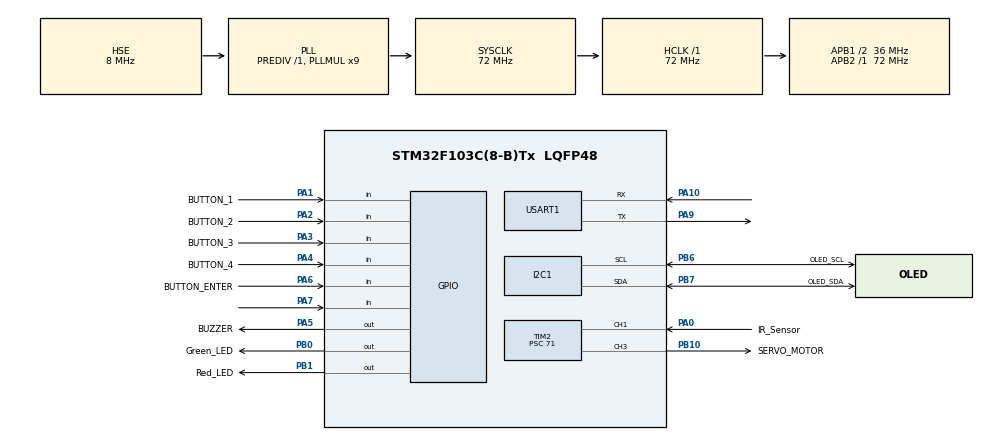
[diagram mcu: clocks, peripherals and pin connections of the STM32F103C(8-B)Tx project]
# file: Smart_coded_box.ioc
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Mcu.Family=STM32F1
Mcu.Name=STM32F103C(8-B)Tx
Mcu.Package=LQFP48
NVIC.PriorityGroup=NVIC_PRIORITYGROUP_4
PA0-WKUP.GPIO_Label=IR_Sensor
PA0-WKUP.Signal=S_TIM2_CH1_ETR
PA1.GPIO_Label=BUTTON_1
PA1.GPIO_PuPd=GPIO_PULLUP
PA1.Signal=GPIO_Input
PA10.Mode=Asynchronous
PA10.Signal=USART1_RX
PA13.Mode=Serial_Wire
PA13.Signal=SYS_JTMS-SWDIO
PA14.Mode=Serial_Wire
PA14.Signal=SYS_JTCK-SWCLK
PA2.GPIO_Label=BUTTON_2
PA2.GPIO_PuPd=GPIO_PULLUP
PA2.Signal=GPIO_Input
PA3.GPIO_Label=BUTTON_3
PA3.GPIO_PuPd=GPIO_PULLUP
PA3.Signal=GPIO_Input
PA4.GPIO_Label=BUTTON_4
PA4.GPIO_PuPd=GPIO_PULLUP
PA4.Signal=GPIO_Input
PA5.GPIO_Label=BUZZER
PA5.PinState=GPIO_PIN_SET
PA5.Signal=GPIO_Output
PA6.GPIO_Label=BUTTON_ENTER
PA6.GPIO_PuPd=GPIO_PULLUP
PA6.Signal=GPIO_Input
PA7.GPIO_PuPd=GPIO_PULLUP
PA7.Signal=GPIO_Input
PA9.Mode=Asynchronous
PA9.Signal=USART1_TX
PB0.GPIO_Label=Green_LED
PB0.Signal=GPIO_Output
PB1.GPIO_Label=Red_LED
PB1.Signal=GPIO_Output
PB10.GPIO_Label=SERVO_MOTOR
PB10.Signal=S_TIM2_CH3
PB6.GPIO_Label=OLED_SCL
PB6.Mode=I2C
PB6.Signal=I2C1_SCL
PB7.GPIO_Label=OLED_SDA
PB7.Mode=I2C
PB7.Signal=I2C1_SDA
PD0-OSC_IN.Mode=HSE-External-Oscillator
PD0-OSC_IN.Signal=RCC_OSC_IN
PD1-OSC_OUT.Mode=HSE-External-Oscillator
PD1-OSC_OUT.Signal=RCC_OSC_OUT
ProjectManager.HeapSize=0x200
ProjectManager.StackSize=0x400
ProjectManager.TargetToolchain=STM32CubeIDE
RCC.AHBFreq_Value=72000000
RCC.APB1CLKDivider=RCC_HCLK_DIV2
RCC.APB1Freq_Value=36000000
RCC.APB1TimFreq_Value=72000000
RCC.APB2Freq_Value=72000000
RCC.APB2TimFreq_Value=72000000
RCC.HCLKFreq_Value=72000000
RCC.PLLMUL=RCC_PLL_MUL9
RCC.PLLSourceVirtual=RCC_PLLSOURCE_HSE
RCC.SYSCLKFreq_VALUE=72000000
RCC.SYSCLKSource=RCC_SYSCLKSOURCE_PLLCLK
RCC.USBFreq_Value=48000000
RCC.USBPrescaler=RCC_USBCLKSOURCE_PLL_DIV1_5
SH.S_TIM2_CH1_ETR.0=TIM2_CH1,Input_Capture1_from_TI1
SH.S_TIM2_CH3.0=TIM2_CH3,PWM Generation3 CH3
TIM2.Channel-Input_Capture1_from_TI1=TIM_CHANNEL_1
TIM2.Channel-PWM\ Generation3\ CH3=TIM_CHANNEL_3
TIM2.Period=19999
TIM2.Prescaler=71
USART1.VirtualMode=VM_ASYNC
board=custom

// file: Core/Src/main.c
/* USER CODE BEGIN Header */
/**
  ******************************************************************************
  * @file           : main.c
  * @brief          : Main program body
  ******************************************************************************
  * @attention
  *
  * Copyright (c) 2026 STMicroelectronics.
  * All rights reserved.
  *
  * This software is licensed under terms that can be found in the LICENSE file
  * in the root directory of this software component.
  * If no LICENSE file comes with this software, it is provided AS-IS.
  *
  ******************************************************************************
  */
/* USER CODE END Header */
#include "main.h"
#include "i2c.h"
#include "tim.h"
#include "usart.h"
#include "gpio.h"

/* USER CODE BEGIN Includes */
#include "ssd1306.h"
#include "ssd1306_tests.h"
#include "ssd1306_fonts.h"
#include <stdio.h>
#include <string.h>

/* USER CODE END Includes */

/* USER CODE BEGIN PV */
extern UART_HandleTypeDef huart1;
uint8_t masterKod[4] = {1, 2, 3, 4};
uint8_t probalkozas[4];
uint8_t hanyszadik = 0;
uint8_t nyitvaVan = 0;

uint32_t utolsoGombnyomas = 0;
uint8_t oledBekapcsolva = 1;
uint8_t rosszProbaSzamlalo = 0;
uint32_t letiltasIdopontja = 0;
uint32_t utolsoInterakcio = 0;
uint32_t irErzekelesEleje = 0;

uint8_t frissiteniKell = 1;

/* USER CODE END PV */

void SystemClock_Config(void);

/* USER CODE BEGIN 0 */
#define NOTE_C4  262
#define NOTE_D4  294
#define NOTE_E4  330
#define NOTE_F4  349
#define NOTE_G4  392
#define NOTE_A4  440
#define NOTE_B4  494
#define NOTE_C5  523
#define NOTE_CS5 554
#define NOTE_D5  587
#define NOTE_E5  659
#define NOTE_F5  698
#define NOTE_GS4 415
#define NOTE_G5  784

void UART_Log(char *status, char *user) {
    char msg[64];
    int len = sprintf(msg, "%s;%s\r\n", status, user);
    HAL_UART_Transmit(&huart1, (uint8_t*)msg, len, 100);
}

void delay_us(uint16_t us) {
    __HAL_TIM_SET_COUNTER(&htim2, 0);
    while (__HAL_TIM_GET_COUNTER(&htim2) < us);
}

void playTone(uint16_t freq, uint16_t duration) {
    if (freq == 0) {
        HAL_Delay(duration);
        return;
    }
    uint32_t period = 1000000 / freq;
    uint32_t half_period = period / 2;
    uint32_t start_tick = HAL_GetTick();

    while (HAL_GetTick() - start_tick < duration) {
        HAL_GPIO_WritePin(BUZZER_GPIO_Port, BUZZER_Pin, GPIO_PIN_SET);
        delay_us(half_period);
        HAL_GPIO_WritePin(BUZZER_GPIO_Port, BUZZER_Pin, GPIO_PIN_RESET);
        delay_us(half_period);
    }
}

void play_BellaCiao() {
    uint16_t melody[] = {
        NOTE_A4, NOTE_D5, NOTE_E5, NOTE_F5, NOTE_D5, 0,
        NOTE_A4, NOTE_D5, NOTE_E5, NOTE_F5, NOTE_D5, 0,
        NOTE_A4, NOTE_D5, NOTE_E5, NOTE_F5, NOTE_E5, NOTE_D5,
        NOTE_F5, NOTE_E5, NOTE_D5, NOTE_A4, 0,
        NOTE_A4, NOTE_A4, NOTE_A4, NOTE_B4, NOTE_CS5, NOTE_D5, NOTE_D5
    };
    uint16_t durations[] = {
        200, 200, 200, 200, 400, 50,
        200, 200, 200, 200, 400, 50,
        200, 200, 200, 200, 200, 200,
        200, 200, 200, 400, 100,
        150, 150, 150, 150, 150, 400, 400
    };

    int utolso_mp = -1;

    for (int i = 0; i < sizeof(melody)/sizeof(uint16_t); i++) {
        playTone(melody[i], durations[i]);
        uint32_t most = HAL_GetTick();
        int hatralevo = 30 - ((most - utolsoInterakcio) / 1000);
        if (hatralevo < 0) hatralevo = 0;

        if (hatralevo != utolso_mp) {
            char buf[10];
            ssd1306_Fill(Black);
            ssd1306_SetCursor(20, 5);
            ssd1306_WriteString("Safe OPENED", Font_7x10, White);
            sprintf(buf, "%02ds", hatralevo);
            ssd1306_SetCursor(45, 25);
            ssd1306_WriteString(buf, Font_11x18, White);
            for(int x=0; x < (hatralevo * 4); x++) {
                ssd1306_DrawPixel(x + 4, 60, White);
                ssd1306_DrawPixel(x + 4, 61, White);
            }
            ssd1306_UpdateScreen();
            utolso_mp = hatralevo;
        }
        HAL_Delay(20);
    }
}

void play_MarioDie() {
    uint16_t melody[] = {
        NOTE_C5, NOTE_CS5, NOTE_D5, 0,
        NOTE_GS4, 0, NOTE_G4, 0, NOTE_F4,
        0, NOTE_E4, NOTE_D4, NOTE_C4
    };
    uint16_t durations[] = {
        100, 100, 100, 150,
        200, 50, 200, 50, 200,
        100, 200, 200, 400
    };
    for (int i = 0; i < 13; i++) {
        playTone(melody[i], durations[i]);
        HAL_Delay(10);
    }
}
/* USER CODE END 0 */

int main(void)
{

  /* MCU Configuration--------------------------------------------------------*/

  /* Reset of all peripherals, Initializes the Flash interface and the Systick. */
  HAL_Init();

  /* Configure the system clock */
  SystemClock_Config();

  /* Initialize all configured peripherals */
  MX_GPIO_Init();
  MX_I2C1_Init();
  MX_TIM2_Init();
  MX_USART1_UART_Init();
  /* USER CODE BEGIN 2 */
  HAL_TIM_Base_Start(&htim2);
    HAL_TIM_IC_Start_IT(&htim2, TIM_CHANNEL_1);
    HAL_TIM_PWM_Start(&htim2, TIM_CHANNEL_3);
    ssd1306_Init();
    ssd1306_Fill(Black);
    ssd1306_UpdateScreen();

    playTone(NOTE_A4, 200);

  /* USER CODE END 2 */

  /* Infinite loop */
  /* USER CODE BEGIN WHILE */

    while (1)
      {
          uint32_t most = HAL_GetTick();
          char buf[20];

          // --- 1. LETILTÁS KEZELÉSE ---
          if (rosszProbaSzamlalo >= 3) {
              if (most - letiltasIdopontja < 60000) {
                  ssd1306_Fill(Black);
                  ssd1306_SetCursor(35, 20);
                  ssd1306_WriteString("WRONG!", Font_11x18, White);
                  int hatra = 60 - ((most - letiltasIdopontja) / 1000);
                  sprintf(buf, "WAIT: %ds", hatra);
                  ssd1306_SetCursor(40, 45);
                  ssd1306_WriteString(buf, Font_7x10, White);
                  ssd1306_UpdateScreen();
                  HAL_GPIO_TogglePin(GPIOB, Red_LED_Pin);
                  playTone(NOTE_C5, 100);
                  HAL_Delay(400);
                  continue;
              } else {
                  rosszProbaSzamlalo = 0;
                  frissiteniKell = 1;
                  HAL_GPIO_WritePin(GPIOB, Red_LED_Pin, GPIO_PIN_RESET);
              }
          }

          // --- 2. OLED ELALVÁS ---
          if (nyitvaVan == 0 && most - utolsoGombnyomas > 5000 && oledBekapcsolva) {
              ssd1306_WriteCommand(0xAE);
              oledBekapcsolva = 0;
          }

          // --- 3. GOMBOK ÉS IR ÉRZÉKELÉS ---
          int gomb = 0;
          if (HAL_GPIO_ReadPin(GPIOA, BUTTON_1_Pin) == GPIO_PIN_RESET) gomb = 1;
          else if (HAL_GPIO_ReadPin(GPIOA, BUTTON_2_Pin) == GPIO_PIN_RESET) gomb = 2;
          else if (HAL_GPIO_ReadPin(GPIOA, BUTTON_3_Pin) == GPIO_PIN_RESET) gomb = 3;
          else if (HAL_GPIO_ReadPin(GPIOA, BUTTON_4_Pin) == GPIO_PIN_RESET) gomb = 4;
          else if (HAL_GPIO_ReadPin(GPIOA, BUTTON_ENTER_Pin) == GPIO_PIN_RESET) gomb = 6;

          if (gomb > 0 || HAL_GPIO_ReadPin(GPIOA, GPIO_PIN_0) == GPIO_PIN_RESET) {
              utolsoGombnyomas = most;
              if (!oledBekapcsolva) {
                  ssd1306_WriteCommand(0xAF);
                  oledBekapcsolva = 1;
                  frissiteniKell = 1;
              }
          }

          // --- 4. ÁLLAPOT: ZÁRVA (LOCKED) ---
          if (nyitvaVan == 0) {
        	  if (frissiteniKell) {
        	      ssd1306_Fill(Black);
        	      ssd1306_SetCursor(40, 5);
        	      ssd1306_WriteString("LOCKED", Font_7x10, White);
        	      ssd1306_SetCursor(32, 35);
        	      ssd1306_WriteString("_ _ _ _", Font_11x18, White);
        	      ssd1306_UpdateScreen();
        	      frissiteniKell = 0;
        	  }

        	  if (gomb >= 1 && gomb <= 4 && hanyszadik < 4) {
        	      playTone(NOTE_E5, 50);
        	      probalkozas[hanyszadik++] = gomb;
        	      ssd1306_SetCursor(32 + ((hanyszadik - 1) * 16), 33);
        	      ssd1306_WriteString("*", Font_11x18, White);
        	      ssd1306_UpdateScreen();
                  HAL_Delay(250);
                  while(HAL_GPIO_ReadPin(GPIOA, BUTTON_1_Pin) == GPIO_PIN_RESET ||
                        HAL_GPIO_ReadPin(GPIOA, BUTTON_2_Pin) == GPIO_PIN_RESET ||
                        HAL_GPIO_ReadPin(GPIOA, BUTTON_3_Pin) == GPIO_PIN_RESET ||
                        HAL_GPIO_ReadPin(GPIOA, BUTTON_4_Pin) == GPIO_PIN_RESET);
              }

              if (gomb == 6 && hanyszadik == 4) {
                    int hiba = 0;
                    for(int i=0; i<4; i++) {
                        if(probalkozas[i] != masterKod[i]) hiba = 1;
                    }

                    if (!hiba) { // SIKERES NYITÁS
                        UART_Log("OPEN", "MASTER");
                        nyitvaVan = 1;

                        // 1. Motor elforgatása (Nyitás: 1.5ms impulzus = 90 fok)
                        __HAL_TIM_SET_COMPARE(&htim2, TIM_CHANNEL_3, 1500);
                        HAL_GPIO_WritePin(GPIOB, Green_LED_Pin, GPIO_PIN_SET);

                        // 2. Zene lejátszása (Ez blokkolja a kódot)
                        play_BellaCiao();

                        // 3. CSAK MOST mentsük el a kezdőidőt, miután a zene véget ért!
                        utolsoInterakcio = HAL_GetTick();
                        rosszProbaSzamlalo = 0;
                    }
                    else { // ROSSZ KÓD
                        UART_Log("WRONG", "UNKNOWN");
                        play_MarioDie();
                        rosszProbaSzamlalo++;
                        ssd1306_Fill(Black);
                        ssd1306_SetCursor(35, 25);
                        ssd1306_WriteString("WRONG!", Font_11x18, White);
                        ssd1306_UpdateScreen();
                        HAL_GPIO_WritePin(GPIOB, Red_LED_Pin, GPIO_PIN_SET);
                        if (rosszProbaSzamlalo >= 3) letiltasIdopontja = most;
                        HAL_Delay(1000);
                        HAL_GPIO_WritePin(GPIOB, Red_LED_Pin, GPIO_PIN_RESET);
                        hanyszadik = 0;
                        frissiteniKell = 1;
                    }
                }
          }
          // --- 5. ÁLLAPOT: NYITVA ---
          else {
              uint32_t elteltIdo = (most - utolsoInterakcio) / 1000;
              int hatralevo = 30 - elteltIdo;

              ssd1306_Fill(Black);

              if (hatralevo > 0) {
                  // Kijelzés kezelése
                  ssd1306_SetCursor(20, 5);
                  ssd1306_WriteString("Safe OPENED", Font_7x10, White);
                  sprintf(buf, "%02ds", hatralevo);
                  ssd1306_SetCursor(45, 25);
                  ssd1306_WriteString(buf, Font_11x18, White);

                  // Progress bar rajzolása
                  for(int x=0; x < (hatralevo * 4); x++) {
                      ssd1306_DrawPixel(x + 4, 60, White);
                  }

                  // --- IR SZENZOR FIGYELÉSE ---
                  // Ha az IR (PA0) alacsony szintű (érzékel valamit)
                  if (HAL_GPIO_ReadPin(GPIOA, GPIO_PIN_0) == GPIO_PIN_RESET) {
                      static uint32_t irErzekelesEleje = 0;
                      if (irErzekelesEleje == 0) irErzekelesEleje = HAL_GetTick();

                      if (HAL_GetTick() - irErzekelesEleje > 1500) { // Csak ha 1.5 mp-ig folyamatosan takarják
                          utolsoInterakcio = HAL_GetTick() - 31000;
                      }
                  } else {
                      irErzekelesEleje = 0;
                  }
              }
              else {
                  // --- AUTOMATIKUS VAGY IR MIATTI ZÁRÁS ---
                  nyitvaVan = 0;
                  hanyszadik = 0;

                  // MOTOR VISSZAFORDÍTÁSA (Zárás: 1ms impulzus)
                  __HAL_TIM_SET_COMPARE(&htim2, TIM_CHANNEL_3, 1000);

                  HAL_GPIO_WritePin(GPIOB, Green_LED_Pin, GPIO_PIN_RESET);
                  UART_Log("CLOSED", "AUTO");
                  playTone(NOTE_G4, 200);
                  frissiteniKell = 1;
                  ssd1306_Fill(Black);
                  ssd1306_UpdateScreen();
                  HAL_Delay(500);
              }
              ssd1306_UpdateScreen();
          }
          HAL_Delay(50);
      }
    }
    /* USER CODE END WHILE */

void SystemClock_Config(void)
{
  RCC_OscInitTypeDef RCC_OscInitStruct = {0};
  RCC_ClkInitTypeDef RCC_ClkInitStruct = {0};

  /** Initializes the RCC Oscillators according to the specified parameters
  * in the RCC_OscInitTypeDef structure.
  */
  RCC_OscInitStruct.OscillatorType = RCC_OSCILLATORTYPE_HSE;
  RCC_OscInitStruct.HSEState = RCC_HSE_ON;
  RCC_OscInitStruct.HSEPredivValue = RCC_HSE_PREDIV_DIV1;
  RCC_OscInitStruct.HSIState = RCC_HSI_ON;
  RCC_OscInitStruct.PLL.PLLState = RCC_PLL_ON;
  RCC_OscInitStruct.PLL.PLLSource = RCC_PLLSOURCE_HSE;
  RCC_OscInitStruct.PLL.PLLMUL = RCC_PLL_MUL9;
  if (HAL_RCC_OscConfig(&RCC_OscInitStruct) != HAL_OK)
  {
    Error_Handler();
  }

  /** Initializes the CPU, AHB and APB buses clocks
  */
  RCC_ClkInitStruct.ClockType = RCC_CLOCKTYPE_HCLK|RCC_CLOCKTYPE_SYSCLK
                              |RCC_CLOCKTYPE_PCLK1|RCC_CLOCKTYPE_PCLK2;
  RCC_ClkInitStruct.SYSCLKSource = RCC_SYSCLKSOURCE_PLLCLK;
  RCC_ClkInitStruct.AHBCLKDivider = RCC_SYSCLK_DIV1;
  RCC_ClkInitStruct.APB1CLKDivider = RCC_HCLK_DIV2;
  RCC_ClkInitStruct.APB2CLKDivider = RCC_HCLK_DIV1;

  if (HAL_RCC_ClockConfig(&RCC_ClkInitStruct, FLASH_LATENCY_2) != HAL_OK)
  {
    Error_Handler();
  }
}

void Error_Handler(void)
{
  __disable_irq();
  while (1)
  {
  }
}
